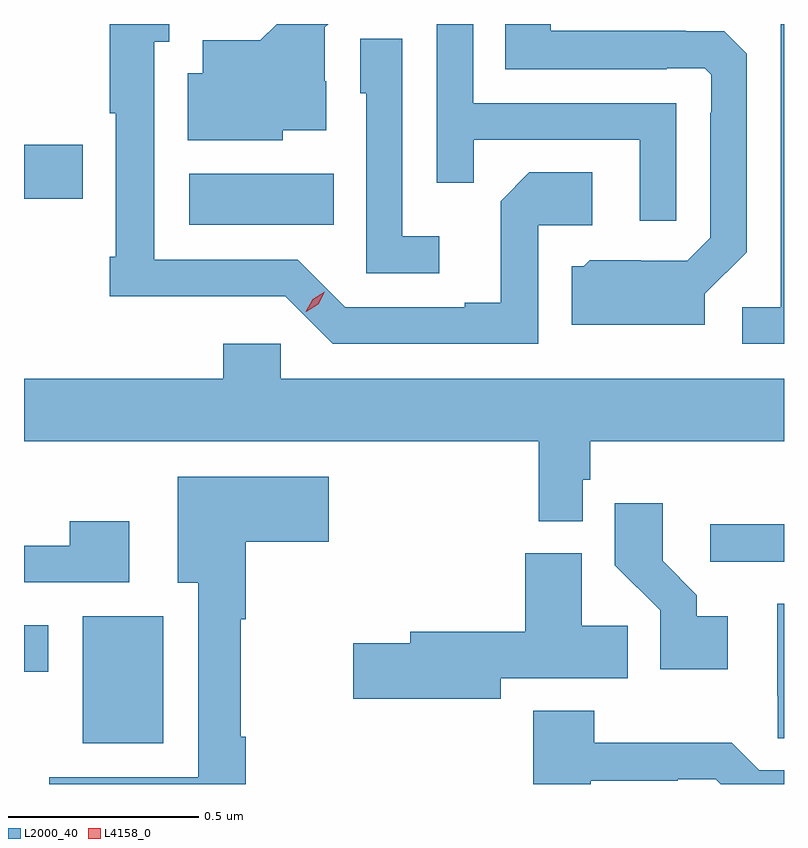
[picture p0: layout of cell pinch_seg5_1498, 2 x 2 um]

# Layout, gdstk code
import gdstk
lib = gdstk.Library(unit=1e-6, precision=1e-09)
def R(c, l, rs):  # rectangles x0, y0, x1, y1
    for r in rs: c.add(gdstk.rectangle(r[:2], r[2:], *l))
def P(c, l, *ps):  # polygons
    for p in ps: c.add(gdstk.Polygon(p, *l))
L2000_40 = (2000, 40)
L4158_0 = (4158, 0)

pinch_seg5_1498 = lib.new_cell('pinch_seg5_1498')
R(pinch_seg5_1498, L2000_40, [(155.966,890.597,156.178,890.932), (155.811,890.786,155.875,890.908), (157.617,891.075,157.811,891.174), (156.246,891.962,156.626,892.096), (155.811,892.03,155.965,892.172)])
P(pinch_seg5_1498, L2000_40, [(157.811,892.49),(157.803,892.49),(157.803,891.744),(157.701,891.744),(157.701,891.648),(157.811,891.648)],
  [(157.527,892.281),(156.993,892.281),(156.993,892.49),(156.897,892.49),(156.897,892.072),(156.995,892.072),(156.995,892.185),(157.431,892.185),(157.431,891.972),(157.527,891.972)],
  [(156.492,892.211),(156.607,892.211),(156.607,892.34),(156.603,892.34),(156.603,892.482),(156.611,892.49),(156.476,892.49),(156.433,892.447),(156.281,892.447),(156.281,892.36),(156.242,892.36),(156.242,892.184),(156.492,892.184)],
  [(157.603,891.78),(157.713,891.89),(157.713,892.412),(157.654,892.471),(157.553,892.471),(157.553,892.472),(157.197,892.472),(157.197,892.49),(157.078,892.49),(157.078,892.371),(157.502,892.371),(157.502,892.374),(157.602,892.374),(157.62,892.356),(157.62,892.256),(157.617,892.256),(157.617,891.927),(157.557,891.867),(157.434,891.867),(157.434,891.868),(157.3,891.868),(157.284,891.852),(157.253,891.852),(157.253,891.698),(157.603,891.698)],
  [(157.164,891.96),(157.306,891.96),(157.306,892.1),(157.141,892.1),(157.065,892.024),(157.065,891.757),(156.971,891.757),(156.971,891.744),(156.657,891.744),(156.531,891.87),(156.154,891.87),(156.154,892.443),(156.193,892.443),(156.193,892.49),(156.036,892.49),(156.036,892.255),(156.053,892.255),(156.053,891.877),(156.036,891.877),(156.036,891.773),(156.276,891.773),(156.276,891.774),(156.498,891.774),(156.624,891.648),(157.164,891.648)],
  [(156.904,891.931),(156.807,891.931),(156.807,892.451),(156.696,892.451),(156.696,892.308),(156.711,892.308),(156.711,891.834),(156.904,891.834)],
  [(157.281,891.291),(157.301,891.291),(157.301,891.392),(157.811,891.392),(157.811,891.556),(156.486,891.556),(156.486,891.649),(156.335,891.649),(156.335,891.556),(155.811,891.556),(155.811,891.392),(157.165,891.392),(157.165,891.182),(157.281,891.182)],
  [(156.395,890.615),(156.382,890.615),(156.382,890.924),(156.395,890.924),(156.395,891.128),(156.613,891.128),(156.613,891.298),(156.215,891.298),(156.215,891.02),(156.269,891.02),(156.269,890.508),(155.877,890.508),(155.877,890.49),(156.395,890.49)],
  [(157.663,890.932),(157.582,890.932),(157.582,890.987),(157.492,891.077),(157.492,891.229),(157.366,891.229),(157.366,891.066),(157.485,890.947),(157.485,890.792),(157.663,890.792)],
  [(156.088,891.181),(155.932,891.181),(155.932,891.117),(155.811,891.117),(155.811,891.021),(156.088,891.021)],
  [(157.066,890.768),(157.4,890.768),(157.4,890.906),(157.279,890.906),(157.279,891.097),(157.13,891.097),(157.13,890.891),(156.827,890.891),(156.827,890.861),(156.678,890.861),(156.678,890.714),(157.066,890.714)],
  [(157.811,890.965),(157.793,890.965),(157.793,890.722),(157.794,890.722),(157.794,890.611),(157.811,890.611)],
  [(157.303,890.499),(157.532,890.499),(157.532,890.502),(157.632,890.502),(157.644,890.49),(157.811,890.49),(157.811,890.526),(157.746,890.526),(157.673,890.599),(157.311,890.599),(157.311,890.683),(157.151,890.683),(157.151,890.49),(157.303,890.49)])
P(pinch_seg5_1498, L4158_0, [(156.553,891.733),(156.553,891.733),(156.571,891.766),(156.603,891.785),(156.603,891.785),(156.603,891.785),(156.585,891.752),(156.554,891.733)])

lib.write_gds('pinch_seg5_1498.gds')
